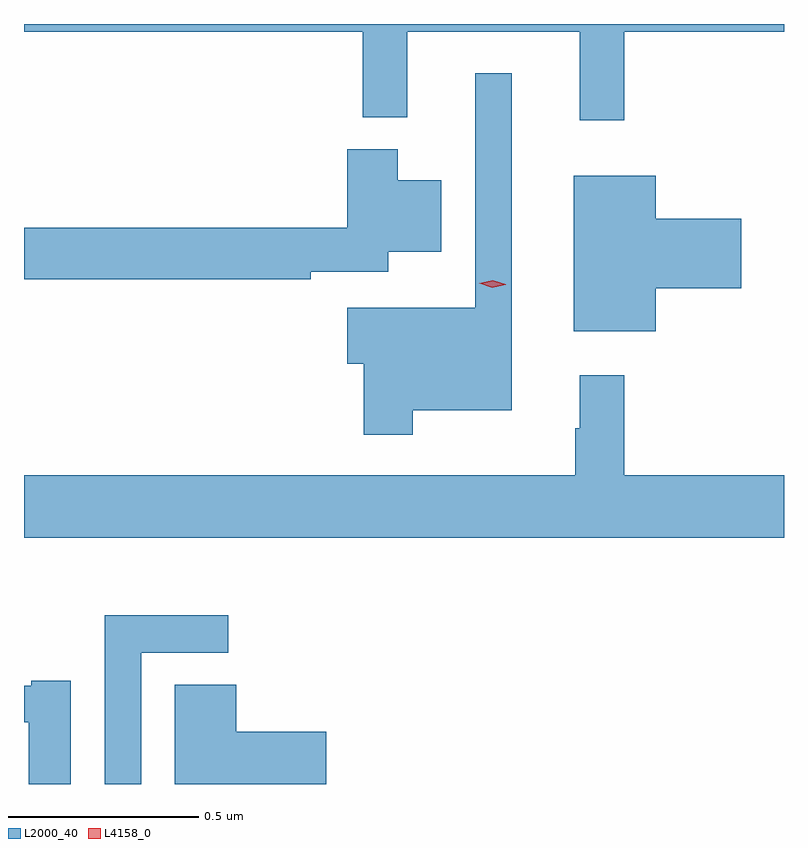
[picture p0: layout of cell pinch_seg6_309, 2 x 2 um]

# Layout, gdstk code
import gdstk
lib = gdstk.Library(unit=1e-6, precision=1e-09)
def P(c, l, *ps):  # polygons
    for p in ps: c.add(gdstk.Polygon(p, *l))
L2000_40 = (2000, 40)
L4158_0 = (4158, 0)

pinch_seg6_309 = lib.new_cell('pinch_seg6_309')
P(pinch_seg6_309, L2000_40, [(749.933,963.32),(750.354,963.32),(750.354,963.34),(748.354,963.34),(748.354,963.32),(749.245,963.32),(749.245,963.095),(749.363,963.095),(749.363,963.32),(749.816,963.32),(749.816,963.087),(749.933,963.087)],
  [(749.377,962.324),(749.638,962.324),(749.638,963.211),(749.541,963.211),(749.541,962.593),(749.204,962.593),(749.204,962.446),(749.248,962.446),(749.248,962.259),(749.377,962.259)],
  [(749.108,962.688),(749.313,962.688),(749.313,962.741),(749.452,962.741),(749.452,962.929),(749.338,962.929),(749.338,963.01),(749.204,963.01),(749.204,962.804),(748.354,962.804),(748.354,962.668),(749.108,962.668)],
  [(750.016,962.645),(750.241,962.645),(750.241,962.828),(750.016,962.828),(750.016,962.941),(749.801,962.941),(749.801,962.531),(750.016,962.531)],
  [(750.354,962.152),(749.933,962.152),(749.933,962.416),(749.816,962.416),(749.816,962.276),(749.805,962.276),(749.805,962.152),(748.354,962.152),(748.354,961.988),(750.354,961.988)],
  [(748.662,961.686),(748.891,961.686),(748.891,961.784),(748.566,961.784),(748.566,961.34),(748.662,961.34)],
  [(748.477,961.612),(748.373,961.612),(748.373,961.599),(748.354,961.599),(748.354,961.503),(748.367,961.503),(748.367,961.34),(748.477,961.34)],
  [(749.149,961.478),(748.913,961.478),(748.913,961.601),(748.751,961.601),(748.751,961.34),(749.149,961.34)])
P(pinch_seg6_309, L4158_0, [(749.586,962.646),(749.552,962.658),(749.552,962.658),(749.552,962.658),(749.588,962.666),(749.622,962.655),(749.622,962.655),(749.622,962.654)])

lib.write_gds('pinch_seg6_309.gds')
